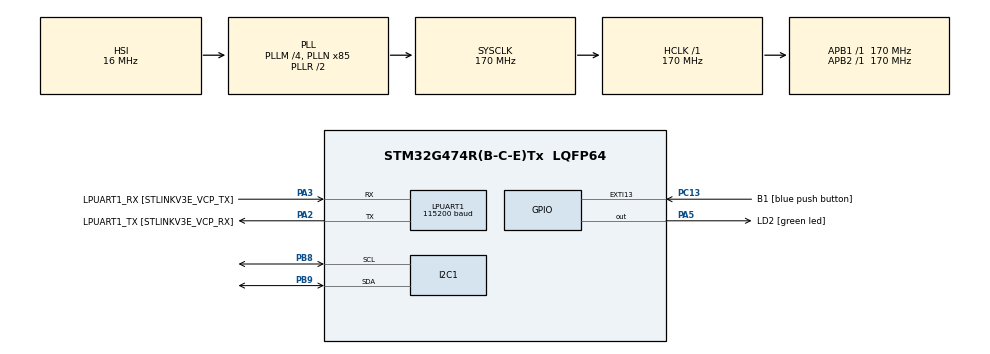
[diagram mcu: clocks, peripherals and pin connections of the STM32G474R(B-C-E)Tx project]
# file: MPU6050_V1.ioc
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I2C1.Timing=0x40B285C2
LPUART1.BaudRate=115200
Mcu.Family=STM32G4
Mcu.Name=STM32G474R(B-C-E)Tx
Mcu.Package=LQFP64
NVIC.EXTI15_10_IRQn=true\:0\:0\:false\:false\:true\:true\:true\:true
NVIC.PriorityGroup=NVIC_PRIORITYGROUP_4
NVIC.TIM1_BRK_TIM15_IRQn=true\:0\:0\:false\:false\:true\:true\:true\:true
NVIC.TIM1_UP_TIM16_IRQn=true\:0\:0\:false\:true\:true\:1\:true\:true\:true
PA13.GPIO_Label=T_SWDIO
PA13.Mode=Serial_Wire
PA13.Signal=SYS_JTMS-SWDIO
PA14.GPIO_Label=T_SWCLK
PA14.Mode=Serial_Wire
PA14.Signal=SYS_JTCK-SWCLK
PA2.GPIO_Label=LPUART1_TX [STLINKV3E_VCP_RX]
PA2.Mode=Asynchronous
PA2.Signal=LPUART1_TX
PA3.GPIO_Label=LPUART1_RX [STLINKV3E_VCP_TX]
PA3.Mode=Asynchronous
PA3.Signal=LPUART1_RX
PA5.GPIO_Label=LD2 [green led]
PA5.Signal=GPIO_Output
PB3.GPIO_Label=T_SWO
PB3.Signal=SYS_JTDO-SWO
PB8-BOOT0.Mode=I2C
PB8-BOOT0.Signal=I2C1_SCL
PB9.Mode=I2C
PB9.Signal=I2C1_SDA
PC13.GPIO_Label=B1 [blue push button]
PC13.Signal=GPXTI13
PC14-OSC32_IN.GPIO_Label=RCC_OSC32_IN
PC14-OSC32_IN.Mode=LSE-External-Oscillator
PC14-OSC32_IN.Signal=RCC_OSC32_IN
PC15-OSC32_OUT.GPIO_Label=RCC_OSC32_OUT
PC15-OSC32_OUT.Mode=LSE-External-Oscillator
PC15-OSC32_OUT.Signal=RCC_OSC32_OUT
PF0-OSC_IN.GPIO_Label=RCC_OSC_IN
PF0-OSC_IN.Mode=HSE-External-Oscillator
PF0-OSC_IN.Signal=RCC_OSC_IN
PF1-OSC_OUT.GPIO_Label=RCC_OSC_OUT
PF1-OSC_OUT.Mode=HSE-External-Oscillator
PF1-OSC_OUT.Signal=RCC_OSC_OUT
ProjectManager.HeapSize=0x200
ProjectManager.StackSize=0x400
ProjectManager.TargetToolchain=STM32CubeIDE
RCC.ADC12Freq_Value=170000000
RCC.ADC345Freq_Value=170000000
RCC.AHBFreq_Value=170000000
RCC.APB1Freq_Value=170000000
RCC.APB1TimFreq_Value=170000000
RCC.APB2Freq_Value=170000000
RCC.APB2TimFreq_Value=170000000
RCC.CortexFreq_Value=170000000
RCC.EXTERNAL_CLOCK_VALUE=12288000
RCC.HCLKFreq_Value=170000000
RCC.HSE_VALUE=24000000
RCC.HSI48_VALUE=48000000
RCC.HSI_VALUE=16000000
RCC.PLLM=RCC_PLLM_DIV4
RCC.PLLN=85
RCC.RTCClockSelection=RCC_RTCCLKSOURCE_LSE
RCC.SYSCLKFreq_VALUE=170000000
RCC.SYSCLKSource=RCC_SYSCLKSOURCE_PLLCLK
RCC.USBFreq_Value=170000000
RCC.VCOOutputFreq_Value=340000000
TIM1.PeriodNoDither=999
TIM1.Prescaler=169
VP_SYS_VS_DBSignals.Mode=DisableDeadBatterySignals
VP_TIM1_VS_ClockSourceINT.Mode=Internal
board=NUCLEO-G474RE

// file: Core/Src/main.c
/* USER CODE BEGIN Header */
/**
  ******************************************************************************
  * @file           : main.c
  * @brief          : Main program body
  ******************************************************************************
  * @attention
  *
  * Copyright (c) 2025 STMicroelectronics.
  * All rights reserved.
  *
  * This software is licensed under terms that can be found in the LICENSE file
  * in the root directory of this software component.
  * If no LICENSE file comes with this software, it is provided AS-IS.
  *
  ******************************************************************************
  */
/* USER CODE END Header */
#include "main.h"
#include "i2c.h"
#include "usart.h"
#include "tim.h"
#include "gpio.h"

/* USER CODE BEGIN Includes */
#include "MPU6050.h"
#include <stdio.h>
#include <string.h>
/* USER CODE END Includes */

/* USER CODE BEGIN PV */
MPU6050_t MPU6050;
uint8_t DeviceAddress;
uint8_t Status;
Accel_t Accelerations;
Gyro_t Gyro;

uint8_t GyroRange, AccelRange;
AccelOffset_t AccelOffset;
GyroOffset_t GyroOffset;

float Roll = 0.0f, Pitch = 0.0f, Yaw = 0.0f;
char Message[128];

float RollAccel = 0.00f, PitchAccel = 0.00f;
float RollGyro = 0.00f, PitchGyro = 0.00f, YawGyro = 0.00f;
volatile uint8_t InterruptFlag;
float dt = 0.001f;

/* USER CODE END PV */

void SystemClock_Config(void);
static void MX_NVIC_Init(void);

int main(void)
{

  /* MCU Configuration--------------------------------------------------------*/

  /* Reset of all peripherals, Initializes the Flash interface and the Systick. */
  HAL_Init();

  /* Configure the system clock */
  SystemClock_Config();

  /* Initialize all configured peripherals */
  MX_GPIO_Init();
  MX_I2C1_Init();
  MX_LPUART1_UART_Init();
  MX_TIM1_Init();

  /* Initialize interrupts */
  MX_NVIC_Init();
  /* USER CODE BEGIN 2 */
  Status = MPU6050_Init(&MPU6050, &hi2c1, 0x68);
  sprintf(Message, "Status = %d\n", Status);
  HAL_UART_Transmit(&hlpuart1, (uint8_t*) Message, strlen(Message), HAL_MAX_DELAY);

  HAL_TIM_Base_Start_IT(&htim1);
  /* USER CODE END 2 */

  /* Infinite loop */
  /* USER CODE BEGIN WHILE */
  while (1)
  {
	  //HAL_Delay(1000);

	  //MPU6050_ReadAcceleration(&MPU6050, &Accelerations, AccelOffset);
	  //sprintf(Message, "Accel X: %f\n", Accelerations.AccelX);
	  //HAL_UART_Transmit(&hlpuart1, (uint8_t*) Message, strlen(Message), HAL_MAX_DELAY);

	  if(InterruptFlag)
		{
		  InterruptFlag = 0;
		  MPU6050_Angle(&MPU6050, &Roll, &Pitch, &Yaw);
		  //sprintf(Message, "Roll: %.3f, Pitch: %.3f, Yaw: %.3f\n", Roll, Pitch, Yaw);
		  //HAL_UART_Transmit(&hlpuart1,(uint8_t*) Message, strlen(Message), HAL_MAX_DELAY);

		  HAL_Delay(10);
		  MPU6050_DegFromAccel(&MPU6050, &RollAccel, &PitchAccel);
		  sprintf(Message, "RollA: %.3f, PitchA: %.3f\n", RollAccel, PitchAccel);
		  HAL_UART_Transmit(&hlpuart1,(uint8_t*) Message, strlen(Message), HAL_MAX_DELAY);

		  HAL_Delay(10);
		  MPU6050_DegFromGyro(&MPU6050, &RollGyro, &PitchGyro, &YawGyro);
		  //sprintf(Message, "RollG: %.3f, PitchG: %.3f, YawG: %.3f\n", RollGyro, PitchGyro, YawGyro);
		  //HAL_UART_Transmit(&hlpuart1,(uint8_t*) Message, strlen(Message), HAL_MAX_DELAY);

		}
    /* USER CODE END WHILE */

  }
}

void SystemClock_Config(void)
{
  RCC_OscInitTypeDef RCC_OscInitStruct = {0};
  RCC_ClkInitTypeDef RCC_ClkInitStruct = {0};

  /** Configure the main internal regulator output voltage
  */
  HAL_PWREx_ControlVoltageScaling(PWR_REGULATOR_VOLTAGE_SCALE1_BOOST);

  /** Initializes the RCC Oscillators according to the specified parameters
  * in the RCC_OscInitTypeDef structure.
  */
  RCC_OscInitStruct.OscillatorType = RCC_OSCILLATORTYPE_HSI;
  RCC_OscInitStruct.HSIState = RCC_HSI_ON;
  RCC_OscInitStruct.HSICalibrationValue = RCC_HSICALIBRATION_DEFAULT;
  RCC_OscInitStruct.PLL.PLLState = RCC_PLL_ON;
  RCC_OscInitStruct.PLL.PLLSource = RCC_PLLSOURCE_HSI;
  RCC_OscInitStruct.PLL.PLLM = RCC_PLLM_DIV4;
  RCC_OscInitStruct.PLL.PLLN = 85;
  RCC_OscInitStruct.PLL.PLLP = RCC_PLLP_DIV2;
  RCC_OscInitStruct.PLL.PLLQ = RCC_PLLQ_DIV2;
  RCC_OscInitStruct.PLL.PLLR = RCC_PLLR_DIV2;
  if (HAL_RCC_OscConfig(&RCC_OscInitStruct) != HAL_OK)
  {
    Error_Handler();
  }

  /** Initializes the CPU, AHB and APB buses clocks
  */
  RCC_ClkInitStruct.ClockType = RCC_CLOCKTYPE_HCLK|RCC_CLOCKTYPE_SYSCLK
                              |RCC_CLOCKTYPE_PCLK1|RCC_CLOCKTYPE_PCLK2;
  RCC_ClkInitStruct.SYSCLKSource = RCC_SYSCLKSOURCE_PLLCLK;
  RCC_ClkInitStruct.AHBCLKDivider = RCC_SYSCLK_DIV1;
  RCC_ClkInitStruct.APB1CLKDivider = RCC_HCLK_DIV1;
  RCC_ClkInitStruct.APB2CLKDivider = RCC_HCLK_DIV1;

  if (HAL_RCC_ClockConfig(&RCC_ClkInitStruct, FLASH_LATENCY_4) != HAL_OK)
  {
    Error_Handler();
  }
}

/**
  * @brief NVIC Configuration.
  * @retval None
  */
static void MX_NVIC_Init(void)
{
  /* TIM1_UP_TIM16_IRQn interrupt configuration */
  HAL_NVIC_SetPriority(TIM1_UP_TIM16_IRQn, 0, 0);
  HAL_NVIC_EnableIRQ(TIM1_UP_TIM16_IRQn);
}

/* USER CODE BEGIN 4 */
void HAL_TIM_PeriodElapsedCallback(TIM_HandleTypeDef *htim)
{
	if(htim->Instance == TIM1)
	{
		 InterruptFlag = 1;
	}
}
/* USER CODE END 4 */

void Error_Handler(void)
{
  __disable_irq();
  while (1)
  {
  }
}
